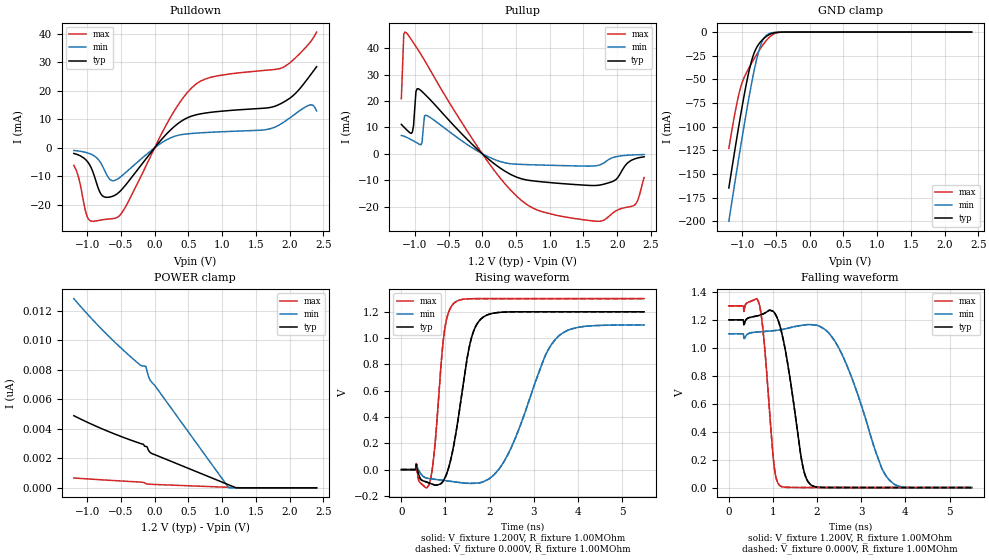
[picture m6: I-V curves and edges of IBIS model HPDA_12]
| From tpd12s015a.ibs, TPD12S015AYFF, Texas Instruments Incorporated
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[Model]   HPDA_12
Model_type   I/O
Vinl = 0.4V
Vinh = 1.0V
Vmeas = 1.500V
Vref = 0V
Cref =15pF
|   typ   min   max
|3-state
C_comp   1.5724pF   1.4611pF   1.8386pF
|pulldown
|C_comp   1.6216pF   1.4827pF   1.9515pF
|pullup
|C_comp   1.689pF   1.5267pF   2.0704pF
[Voltage Range]   1.200V   1.10V   1.30V
|Junction temperature
[Temperature Range]   40.0   100.0   -40.0
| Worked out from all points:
|   slope of the pulldown table from 0 to 0.18 V, typ, clamps not added: 36.5 ohm
|   slope of the pullup table from 0 to 0.18 V, typ, clamps not added: 47.1 ohm
|   GND clamp passes 1 mA (typ) near -0.54 V on its own axis
|   falling waveform, V_fixture 1.200V, R_fixture 1.00MOhm: 20-80 % time 333ps typ, 703ps min, 192ps max; typ from 1.2 V to 0 V
|   rising waveform, V_fixture 1.200V, R_fixture 1.00MOhm: 20-80 % time 340ps typ, 720ps min, 191ps max; typ from 0 V to 1.2 V
|   rising waveform, V_fixture 0.000V, R_fixture 1.00MOhm: 20-80 % time 340ps typ, 720ps min, 191ps max; typ from 0 V to 1.2 V
|   falling waveform, V_fixture 0.000V, R_fixture 1.00MOhm: 20-80 % time 333ps typ, 703ps min, 192ps max; typ from 1.2 V to 0 V
|ambient temperature   25   85   -40|
[Pulldown]
|   Voltage   I(typ)   I(min)   I(max)
-1.2V     -2.038mA   -994.7uA   -6.215mA
-982.9mV  -5.39mA    -1.945mA   -25.1mA
-783.9mV  -16.73mA   -6.042mA   -25.37mA
-675.4mV  -17.39mA   -10.91mA   -25.06mA
-566.8mV  -16.37mA   -11.25mA   -24.61mA
-385.9mV  -11.76mA   -7.802mA   -18.7mA
138.7mV   3.893mA    2.257mA    6.602mA
554.8mV   11.16mA    4.996mA    21.17mA
880.4mV   12.56mA    5.465mA    25mA
1.803V    14.74mA    7.446mA    27.54mA
2.291V    24.98mA    14.93mA    36.66mA
2.4V      28.44mA    12.91mA    40.63mA
[GND Clamp]
|   Voltage   I(typ)   I(min)   I(max)
-1.2V     -164.7mA   -199.9mA   -122.9mA
-1.11V    -124.1mA   -158.6mA   -85.69mA
-1.037V   -92.89mA   -126.4mA   -61.66mA
-982.9mV  -70.79mA   -102.8mA   -49.69mA
-874.4mV  -33.52mA   -58.6mA    -34.37mA
-820.1mV  -21.26mA   -39.03mA   -27.68mA
-747.7mV  -11.93mA   -18.1mA    -19.3mA
-693.5mV  -7.572mA   -8.233mA   -13.56mA
-639.2mV  -4.359mA   -3.305mA   -8.543mA
-530.7mV  -894.9uA   -472.7uA   -1.914mA
-404mV    -67.45uA   -43.38uA   -90.57uA
2.4V      0A         0A         0A
[Pullup]
|   Voltage   I(typ)   I(min)   I(max)
-1.2V     11.11mA    6.899mA    20.81mA
-1.164V   10.16mA    6.66mA     45.34mA
-1.146V   9.692mA    6.482mA    46.11mA
-1.037V   8.113mA    5.089mA    42.66mA
-982.9mV  23.63mA    4.314mA    40.6mA
-946.7mV  24.59mA    3.797mA    39.18mA
-892.5mV  23.54mA    4.317mA    36.94mA
-838.2mV  22.19mA    14.56mA    34.6mA
681.4mV   -10.04mA   -4.14mA    -19.58mA
1.767V    -11.76mA   -4.006mA   -25.49mA
2.273V    -1.845mA   -410.4uA   -19.07mA
2.4V      -1.169mA   -315.3uA   -9.052mA
[POWER Clamp]
|   Voltage   I(typ)   I(min)   I(max)
-1.2V     4.894nA    12.84nA    666.9pA
-874.4mV  4.189nA    11.18nA    569.1pA
-530.7mV  3.538nA    9.615nA    473.7pA
-205mV    2.998nA    8.296nA    384.9pA
-132.7mV  2.807nA    8.242nA    288.7pA
-114.6mV  2.792nA    7.924nA    264.5pA
-96.48mV  2.574nA    7.608nA    253.3pA
-60.3mV   2.374nA    7.251nA    242.1pA
0V        2.251nA    6.951nA    228.7pA
1.097V    202.6pA    0A         35.11pA
1.206V    0A         0A         15.96pA
2.4V      0A         0A         0A
[Ramp]
R_load = 1.00MOhm
|   typ   min   max
dV/dt_r   719.939mV/340.267ps 659.894mV/720.118ps 779.961mV/190.699ps
dV/dt_f   719.946mV/333.102ps 659.906mV/703.346ps 779.966mV/192.099ps
[Falling Waveform]
V_fixture = 1.200V
V_fixture_min = 1.100V
V_fixture_max = 1.300V
R_fixture = 1.00MOhm
|   Time   V(typ)   V(min)   V(max)
0s        1.2V       1.1V       1.3V
690ps     1.232V     1.114V     1.311V
800ps     1.246V     1.117V     1.043V
1.02ns    1.256V     1.123V     168.9mV
1.16ns    1.154V     1.128V     12.92mV
1.66ns    176.6mV    1.161V     538.2uV
1.85ns    21.76mV    1.166V     402.4uV
2.52ns    434.2uV    981.4mV    253.8uV
3.64ns    191.5uV    53.28mV    160.4uV
5.5ns     63.46uV    107.4uV    40.19uV
[Rising Waveform]
V_fixture = 1.200V
V_fixture_min = 1.100V
V_fixture_max = 1.300V
R_fixture = 1.00MOhm
|   Time   V(typ)   V(min)   V(max)
0s        63.46uV    107.4uV    40.19uV
630ps     -101.4mV   -68.14mV   -112.7mV
750ps     -116.4mV   -72.59mV   146.4mV
980ps     -67.29mV   -82.77mV   1.06V
1.22ns    246mV      -93.69mV   1.273V
1.56ns    964.1mV    -104.1mV   1.299V
1.86ns    1.16V      -90.66mV   1.3V
2.41ns    1.199V     113.1mV    1.3V
3.54ns    1.2V       1.008V     1.3V
5.5ns     1.2V       1.1V       1.3V
[Rising Waveform]
V_fixture = 0.000V
V_fixture_min = 0.000V
V_fixture_max = 0.000V
R_fixture = 1.00MOhm
|   Time   V(typ)   V(min)   V(max)
0s        23.36uV    46.82uV    14.13uV
630ps     -101.6mV   -68.32mV   -112.8mV
750ps     -116.6mV   -72.83mV   146.2mV
980ps     -67.63mV   -83.15mV   1.06V
1.22ns    245.6mV    -94.19mV   1.273V
1.56ns    963.9mV    -104.8mV   1.299V
1.86ns    1.16V      -91.45mV   1.3V
2.41ns    1.199V     112.2mV    1.3V
3.54ns    1.2V       1.008V     1.3V
5.5ns     1.2V       1.1V       1.3V
[Falling Waveform]
V_fixture = 0.000V
V_fixture_min = 0.000V
V_fixture_max = 0.000V
R_fixture = 1.00MOhm
|   Time   V(typ)   V(min)   V(max)
0s        1.2V       1.1V       1.3V
690ps     1.232V     1.114V     1.311V
800ps     1.246V     1.117V     1.043V
1.02ns    1.256V     1.123V     168.7mV
1.16ns    1.154V     1.128V     12.89mV
1.66ns    176.4mV    1.161V     511.9uV
1.85ns    21.69mV    1.166V     376.3uV
2.52ns    393.3uV    980.8mV    227.7uV
3.64ns    151.4uV    53.02mV    134.3uV
5.5ns     23.36uV    46.82uV    14.13uV
